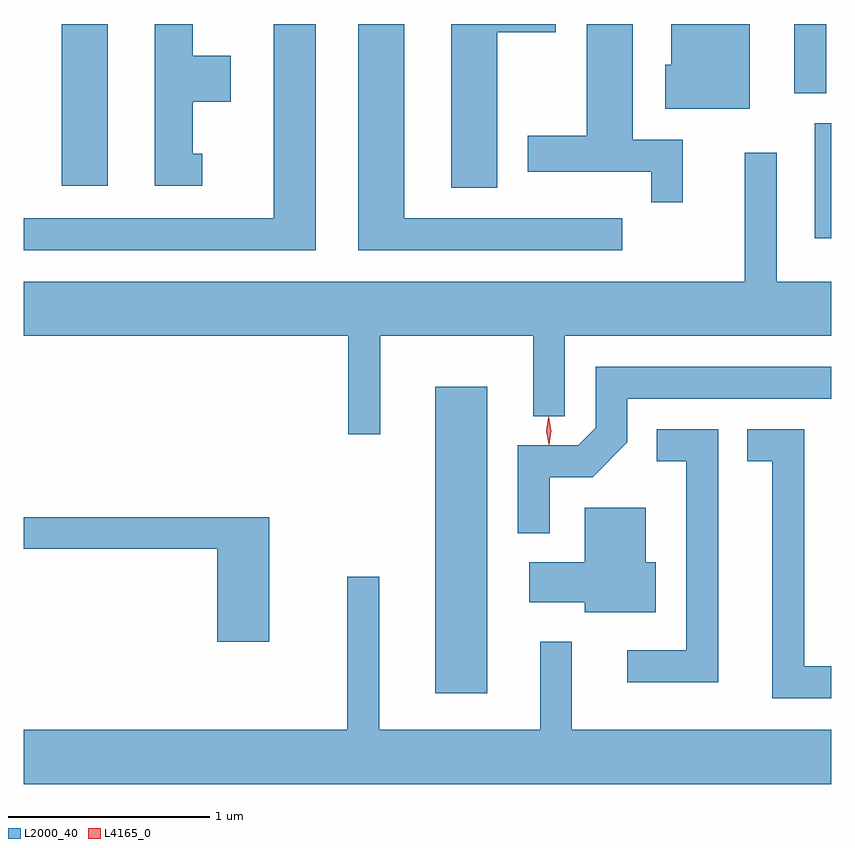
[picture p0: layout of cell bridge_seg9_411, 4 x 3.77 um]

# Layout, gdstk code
import gdstk
lib = gdstk.Library(unit=1e-6, precision=1e-09)
def R(c, l, rs):  # rectangles x0, y0, x1, y1
    for r in rs: c.add(gdstk.rectangle(r[:2], r[2:], *l))
def P(c, l, *ps):  # polygons
    for p in ps: c.add(gdstk.Polygon(p, *l))
L2000_40 = (2000, 40)
L4165_0 = (4165, 0)

bridge_seg9_411 = lib.new_cell('bridge_seg9_411')
R(bridge_seg9_411, L2000_40, [(439.826,2069.966,440.084,2071.484), (441.706,2072.221,441.788,2072.789), (437.976,2072.481,438.204,2073.282), (441.606,2072.938,441.764,2073.282)])
P(bridge_seg9_411, L2000_40, [(440.134,2073.241),(440.424,2073.241),(440.424,2073.282),(439.906,2073.282),(439.906,2072.471),(440.134,2072.471)],
  [(438.673,2072.639),(438.624,2072.639),(438.624,2072.896),(438.814,2072.896),(438.814,2073.124),(438.624,2073.124),(438.624,2073.282),(438.436,2073.282),(438.436,2072.481),(438.673,2072.481)],
  [(439.234,2073.282),(439.026,2073.282),(439.026,2072.319),(437.788,2072.319),(437.788,2072.161),(439.234,2072.161)],
  [(440.753,2072.319),(439.674,2072.319),(439.674,2073.282),(439.446,2073.282),(439.446,2072.161),(440.753,2072.161)],
  [(441.384,2073.282),(440.996,2073.282),(440.996,2073.079),(440.966,2073.079),(440.966,2072.861),(441.384,2072.861)],
  [(441.054,2072.709),(440.804,2072.709),(440.804,2073.282),(440.576,2073.282),(440.576,2072.729),(440.286,2072.729),(440.286,2072.551),(440.896,2072.551),(440.896,2072.398),(441.054,2072.398)],
  [(439.554,2071.736),(440.311,2071.736),(440.311,2071.338),(440.469,2071.338),(440.469,2071.736),(441.788,2071.736),(441.788,2072.004),(441.519,2072.004),(441.519,2072.643),(441.361,2072.643),(441.361,2072.004),(437.788,2072.004),(437.788,2071.736),(439.396,2071.736),(439.396,2071.248),(439.554,2071.248)],
  [(440.394,2071.036),(440.607,2071.036),(440.779,2071.209),(440.779,2071.426),(441.788,2071.426),(441.788,2071.584),(440.621,2071.584),(440.621,2071.282),(440.534,2071.194),(440.236,2071.194),(440.236,2070.758),(440.394,2070.758)],
  [(441.788,2070.099),(441.654,2070.099),(441.654,2071.274),(441.373,2071.274),(441.373,2071.116),(441.496,2071.116),(441.496,2069.941),(441.788,2069.941)],
  [(441.229,2071.274),(440.923,2071.274),(440.923,2071.116),(441.071,2071.116),(441.071,2070.179),(440.778,2070.179),(440.778,2070.021),(441.229,2070.021)],
  [(440.919,2070.614),(440.869,2070.614),(440.869,2070.884),(440.566,2070.884),(440.566,2070.614),(440.291,2070.614),(440.291,2070.416),(440.566,2070.416),(440.566,2070.366),(440.919,2070.366)],
  [(439.004,2070.839),(437.788,2070.839),(437.788,2070.681),(438.746,2070.681),(438.746,2070.221),(439.004,2070.221)],
  [(441.788,2069.784),(440.504,2069.784),(440.504,2070.222),(440.346,2070.222),(440.346,2069.784),(439.549,2069.784),(439.549,2070.543),(439.391,2070.543),(439.391,2069.784),(437.788,2069.784),(437.788,2069.516),(441.788,2069.516)])
P(bridge_seg9_411, L4165_0, [(440.388,2071.199),(440.388,2071.2),(440.377,2071.265),(440.386,2071.332),(440.386,2071.332),(440.387,2071.332),(440.397,2071.266),(440.389,2071.2)],
  [(440.392,2071.196),(440.391,2071.197),(440.381,2071.266),(440.389,2071.335),(440.39,2071.336),(440.39,2071.335),(440.401,2071.266),(440.392,2071.197)])

lib.write_gds('bridge_seg9_411.gds')
